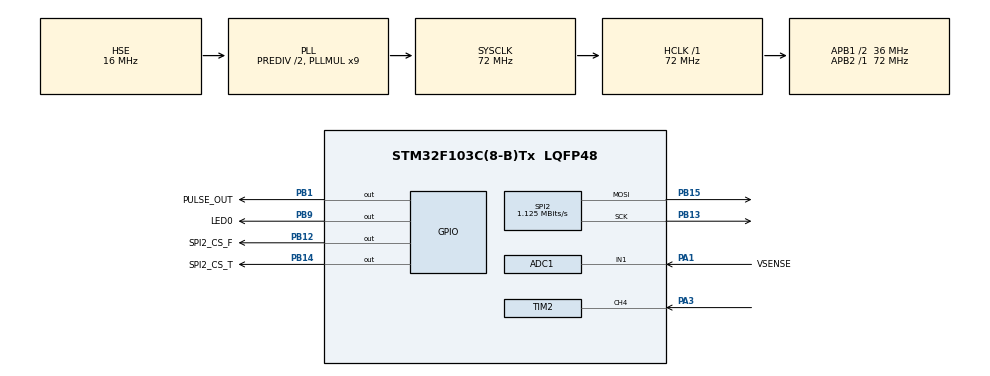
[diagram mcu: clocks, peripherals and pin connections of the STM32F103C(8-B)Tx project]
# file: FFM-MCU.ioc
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ADC1.Channel-0\#ChannelRegularConversion=ADC_CHANNEL_1
ADC1.ContinuousConvMode=ENABLE
ADC1.NbrOfConversionFlag=1
ADC1.Rank-0\#ChannelRegularConversion=1
ADC1.SamplingTime-0\#ChannelRegularConversion=ADC_SAMPLETIME_1CYCLE_5
ADC1.master=1
Mcu.Family=STM32F1
Mcu.Name=STM32F103C(8-B)Tx
Mcu.Package=LQFP48
NVIC.ADC1_2_IRQn=true\:0\:0\:false\:false\:true\:true
NVIC.PriorityGroup=NVIC_PRIORITYGROUP_4
NVIC.TIM2_IRQn=true\:0\:0\:false\:false\:true\:true
NVIC.TIM3_IRQn=true\:0\:0\:false\:false\:true\:true
PA1.GPIO_Label=VSENSE
PA1.Signal=ADCx_IN1
PA13.Mode=Serial_Wire
PA13.Signal=SYS_JTMS-SWDIO
PA14.Mode=Serial_Wire
PA14.Signal=SYS_JTCK-SWCLK
PA3.Signal=S_TIM2_CH4
PB1.GPIO_Label=PULSE_OUT
PB1.GPIO_Speed=GPIO_SPEED_FREQ_HIGH
PB1.Signal=GPIO_Output
PB12.GPIO_Label=SPI2_CS_F
PB12.GPIO_Speed=GPIO_SPEED_FREQ_HIGH
PB12.Signal=GPIO_Output
PB13.Mode=TX_Only_Simplex_Unidirect_Master
PB13.Signal=SPI2_SCK
PB14.GPIO_Label=SPI2_CS_T
PB14.GPIO_Speed=GPIO_SPEED_FREQ_HIGH
PB14.Signal=GPIO_Output
PB15.Mode=TX_Only_Simplex_Unidirect_Master
PB15.Signal=SPI2_MOSI
PB9.GPIO_Label=LED0
PB9.GPIO_Speed=GPIO_SPEED_FREQ_HIGH
PB9.Signal=GPIO_Output
PD0-OSC_IN.Mode=HSE-External-Oscillator
PD0-OSC_IN.Signal=RCC_OSC_IN
PD1-OSC_OUT.Mode=HSE-External-Oscillator
PD1-OSC_OUT.Signal=RCC_OSC_OUT
ProjectManager.HeapSize=0x200
ProjectManager.StackSize=0x400
ProjectManager.TargetToolchain=EWARM
RCC.ADCPresc=RCC_ADCPCLK2_DIV6
RCC.AHBFreq_Value=72000000
RCC.APB1CLKDivider=RCC_HCLK_DIV2
RCC.APB1Freq_Value=36000000
RCC.APB1TimFreq_Value=72000000
RCC.APB2Freq_Value=72000000
RCC.APB2TimFreq_Value=72000000
RCC.HCLKFreq_Value=72000000
RCC.HSEDivPLL=RCC_HSE_PREDIV_DIV2
RCC.HSE_VALUE=16000000
RCC.PLLMUL=RCC_PLL_MUL9
RCC.PLLSourceVirtual=RCC_PLLSOURCE_HSE
RCC.SYSCLKFreq_VALUE=72000000
RCC.SYSCLKSource=RCC_SYSCLKSOURCE_PLLCLK
RCC.USBFreq_Value=72000000
SH.ADCx_IN1.0=ADC1_IN1,IN1
SH.S_TIM2_CH4.0=TIM2_CH4,Input_Capture4_from_TI4
SPI2.BaudRatePrescaler=SPI_BAUDRATEPRESCALER_32
SPI2.CalculateBaudRate=1.125 MBits/s
SPI2.Direction=SPI_DIRECTION_2LINES
SPI2.FirstBit=SPI_FIRSTBIT_LSB
SPI2.Mode=SPI_MODE_MASTER
SPI2.VirtualType=VM_MASTER
TIM2.Channel-Input_Capture4_from_TI4=TIM_CHANNEL_4
TIM2.ClockDivision=TIM_CLOCKDIVISION_DIV4
TIM2.ICPolarity_CH4=TIM_INPUTCHANNELPOLARITY_FALLING
TIM2.Period=65534
TIM2.Prescaler=17
TIM3.ClockDivision=TIM_CLOCKDIVISION_DIV2
TIM3.Period=19
TIM3.Prescaler=17999
VP_TIM2_VS_ClockSourceINT.Mode=Internal
VP_TIM3_VS_ClockSourceINT.Mode=Internal
board=FFM-MCU

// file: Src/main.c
/**
  ******************************************************************************
  * File Name          : main.c
  * Description        : Main program body
  ******************************************************************************
  ** This notice applies to any and all portions of this file
  * that are not between comment pairs USER CODE BEGIN and
  * USER CODE END. Other portions of this file, whether
  * inserted by the user or by software development tools
  * are owned by their respective copyright owners.
  *
  * COPYRIGHT(c) 2017 STMicroelectronics
  *
  * Redistribution and use in source and binary forms, with or without modification,
  * are permitted provided that the following conditions are met:
  *   1. Redistributions of source code must retain the above copyright notice,
  *      this list of conditions and the following disclaimer.
  *   2. Redistributions in binary form must reproduce the above copyright notice,
  *      this list of conditions and the following disclaimer in the documentation
  *      and/or other materials provided with the distribution.
  *   3. Neither the name of STMicroelectronics nor the names of its contributors
  *      may be used to endorse or promote products derived from this software
  *      without specific prior written permission.
  *
  * THIS SOFTWARE IS PROVIDED BY THE COPYRIGHT HOLDERS AND CONTRIBUTORS "AS IS"
  * AND ANY EXPRESS OR IMPLIED WARRANTIES, INCLUDING, BUT NOT LIMITED TO, THE
  * IMPLIED WARRANTIES OF MERCHANTABILITY AND FITNESS FOR A PARTICULAR PURPOSE ARE
  * DISCLAIMED. IN NO EVENT SHALL THE COPYRIGHT HOLDER OR CONTRIBUTORS BE LIABLE
  * FOR ANY DIRECT, INDIRECT, INCIDENTAL, SPECIAL, EXEMPLARY, OR CONSEQUENTIAL
  * DAMAGES (INCLUDING, BUT NOT LIMITED TO, PROCUREMENT OF SUBSTITUTE GOODS OR
  * SERVICES; LOSS OF USE, DATA, OR PROFITS; OR BUSINESS INTERRUPTION) HOWEVER
  * CAUSED AND ON ANY THEORY OF LIABILITY, WHETHER IN CONTRACT, STRICT LIABILITY,
  * OR TORT (INCLUDING NEGLIGENCE OR OTHERWISE) ARISING IN ANY WAY OUT OF THE USE
  * OF THIS SOFTWARE, EVEN IF ADVISED OF THE POSSIBILITY OF SUCH DAMAGE.
  *
  ******************************************************************************
  */
#include "main.h"
#include "stm32f1xx_hal.h"

/* USER CODE BEGIN Includes */

#define LED_LOW           HAL_GPIO_WritePin(GPIOB, GPIO_PIN_9, GPIO_PIN_RESET)
#define LED_HIGH          HAL_GPIO_WritePin(GPIOB, GPIO_PIN_9, GPIO_PIN_SET)
#define CS_T_LOW          HAL_GPIO_WritePin(GPIOB, GPIO_PIN_14, GPIO_PIN_RESET)
#define CS_T_HIGH         HAL_GPIO_WritePin(GPIOB, GPIO_PIN_14, GPIO_PIN_SET)
#define CS_F_LOW          HAL_GPIO_WritePin(GPIOB, GPIO_PIN_12, GPIO_PIN_RESET)
#define CS_F_HIGH         HAL_GPIO_WritePin(GPIOB, GPIO_PIN_12, GPIO_PIN_SET)
#define PULSEOUT_LOW      HAL_GPIO_WritePin(GPIOB, GPIO_PIN_1, GPIO_PIN_RESET)
#define PULSEOUT_HIGH     HAL_GPIO_WritePin(GPIOB, GPIO_PIN_1, GPIO_PIN_SET)

/* USER CODE END Includes */

ADC_HandleTypeDef hadc1;

SPI_HandleTypeDef hspi2;

TIM_HandleTypeDef htim2;
TIM_HandleTypeDef htim3;

/* USER CODE BEGIN PV */
/* Private variables ---------------------------------------------------------*/

uint32_t freq = 0, temp = 0, stepCounter = 0, outState = 0, extiCounter = 0, count = 0, approxCounts = 0;
uint8_t SELED_Out[5] = {0};

const char simbol[] =
{
  0xBE,                                                                         // 0
  0x06,                                                                         // 1
  0xDC,                                                                         // 2
  0xCE,                                                                         // 3
  0x66,                                                                         // 4
  0xEA,                                                                         // 5
  0xFA,                                                                         // 6
  0x86,                                                                         // 7
  0xFE,                                                                         // 8
  0xEE,                                                                         // 9
  0x00,                                                                         // NULL
  0x01                                                                          // Dot
};

const float polinom[] =
{
  52.31562632,                                                                  // Y
  -10.35172256,                                                                 // X1
  1.207717029,                                                                  // X2
  -0.05790674,                                                                  // X3
  0.001131226                                                                   // X4
};

/* USER CODE END PV */

void SystemClock_Config(void);
static void MX_GPIO_Init(void);
static void MX_ADC1_Init(void);
static void MX_SPI2_Init(void);
static void MX_TIM2_Init(void);
static void MX_TIM3_Init(void);

/* USER CODE BEGIN PFP */
/* Private function prototypes -----------------------------------------------*/

/* USER CODE END PFP */

/* USER CODE BEGIN 0 */

void delay(void)                                                                // 75 uS delay
{
  for (int i = 0; i < 750; i++)
    asm("NOP");
}

void STLED_Init(void)
{
  CS_F_LOW;
  CS_T_LOW;
  delay();
  uint8_t initData = 0x0D;
  HAL_SPI_Transmit(&hspi2, &initData, 1, 0x1000);                               // Display ON
  CS_F_HIGH;
  CS_T_HIGH;
  delay();

  CS_F_LOW;
  CS_T_LOW;
  delay();
  initData = 0x10;
  HAL_SPI_Transmit(&hspi2, &initData, 1, 0x1000);                               // Dimming setting
  initData = 0xFC;
  HAL_SPI_Transmit(&hspi2, &initData, 1, 0x1000);                               // 5 digits, MAX brightness
  CS_F_HIGH;
  CS_T_HIGH;
  delay();
}

void number2array (uint32_t inData, uint8_t outData[5])
{
  if (inData < 10)
  {
    outData[0] = simbol[10];
    outData[1] = simbol[10];
    outData[2] = simbol[0] | simbol[11];
    outData[3] = simbol[0];
    outData[4] = simbol[inData];
  }
  else if (inData < 100)
  {
    outData[0] = simbol[10];
    outData[1] = simbol[10];
    outData[2] = simbol[0] | simbol[11];
    outData[3] = simbol[inData / 10];
    outData[4] = simbol[inData % 10];
  }
  else if (inData < 1000)
  {
    outData[0] = simbol[10];
    outData[1] = simbol[10];
    outData[2] = simbol[inData / 100] | simbol[11];
    while (inData >= 100)
      inData -= 100;
    outData[3] = simbol[inData / 10];
    outData[4] = simbol[inData % 10];
  }
  else if (inData < 10000)
  {
    outData[0] = simbol[10];
    outData[1] = simbol[inData / 1000];
    while (inData >= 1000)
      inData -= 1000;
    outData[2] = simbol[inData / 100] | simbol[11];
    while (inData >= 100)
      inData -= 100;
    outData[3] = simbol[inData / 10];
    outData[4] = simbol[inData % 10];
  }
  else
  {
    outData[0] = simbol[inData / 10000];
    while (inData >= 10000)
      inData -= 10000;
    outData[1] = simbol[inData / 1000];
    while (inData >= 1000)
      inData -= 1000;
    outData[2] = simbol[inData / 100] | simbol[11];
    while (inData >= 100)
      inData -= 100;
    outData[3] = simbol[inData / 10];
    outData[4] = simbol[inData % 10];
  }

}

void STLED_SendData(uint32_t tempData, uint32_t freqData)
{
  /*
  Data out:
  **********
  | xxx.x *C  |
  | xxx.x kHz |
  **********
  tempData = temp * 100 [*C];
  freqData = freq * 100 [kHz];
  */

  uint8_t sendData;

  // Temperature Data Output

  CS_T_LOW;

  delay();
  sendData = 0x00;
  HAL_SPI_Transmit(&hspi2, &sendData, 1, 0x1000);                               // Address

  number2array(tempData, SELED_Out);

  HAL_SPI_Transmit(&hspi2, &SELED_Out[0], 1, 0x1000);                             // Dig0
  HAL_SPI_Transmit(&hspi2, &SELED_Out[1], 1, 0x1000);                             // Dig1
  HAL_SPI_Transmit(&hspi2, &SELED_Out[2], 1, 0x1000);                             // Dig2
  HAL_SPI_Transmit(&hspi2, &SELED_Out[3], 1, 0x1000);                             // Dig3
  HAL_SPI_Transmit(&hspi2, &SELED_Out[4], 1, 0x1000);                             // Dig4

  CS_T_HIGH;

  // Frequency Data Output

  CS_F_LOW;

  delay();
  sendData = 0x00;
  HAL_SPI_Transmit(&hspi2, &sendData, 1, 0x1000);                               // Address

  number2array(freqData, SELED_Out);

  HAL_SPI_Transmit(&hspi2, &SELED_Out[0], 1, 0x1000);                             // Dig0
  HAL_SPI_Transmit(&hspi2, &SELED_Out[1], 1, 0x1000);                             // Dig1
  HAL_SPI_Transmit(&hspi2, &SELED_Out[2], 1, 0x1000);                             // Dig2
  HAL_SPI_Transmit(&hspi2, &SELED_Out[3], 1, 0x1000);                             // Dig3
  HAL_SPI_Transmit(&hspi2, &SELED_Out[4], 1, 0x1000);                             // Dig4

  CS_F_HIGH;
}

/*
  // Temperature Data Output
  CS_T_LOW;
  CS_F_LOW;

  delay();
  uint8_t sendData = 0x00;
  HAL_SPI_Transmit(&hspi2, &sendData, 1, 0x1000);                               // Address

  sendData = simbol[1];
  HAL_SPI_Transmit(&hspi2, &sendData, 1, 0x1000);                               // Dig0
  sendData = simbol[4];
  HAL_SPI_Transmit(&hspi2, &sendData, 1, 0x1000);
  sendData = simbol[8];
  HAL_SPI_Transmit(&hspi2, &sendData, 1, 0x1000);
  sendData = simbol[8];
  HAL_SPI_Transmit(&hspi2, &sendData, 1, 0x1000);
  sendData = simbol[9];
  HAL_SPI_Transmit(&hspi2, &sendData, 1, 0x1000);                               // Dig4

  CS_T_HIGH;
  CS_F_HIGH;
*/

/*
uint32_t freq2temp(uint32_t freqData)
{
  uint32_t tempData = 0;

  if (freqData < 1122)
    tempData = (int) freqData * 1.850;          // 20 -
  else if (freqData < 1163)
    tempData = (int) freqData * 1.872;          // 21
  else if (freqData < 1205)
    tempData = (int) freqData * 1.892;          // 22
  else if (freqData < 1246)
    tempData = (int) freqData * 1.909;          // 23
  else if (freqData < 1287)
    tempData = (int) freqData * 1.926;          // 24
  else if (freqData < 1328)
    tempData = (int) freqData * 1.943;          // 25
  else if (freqData < 1369)
    tempData = (int) freqData * 1.958;          // 26
  else if (freqData < 1411)
    tempData = (int) freqData * 1.972;          // 27
  else if (freqData < 1452)
    tempData = (int) freqData * 1.984;          // 28
  else if (freqData < 1493)
    tempData = (int) freqData * 1.997;          // 29
  else if (freqData < 1534)
    tempData = (int) freqData * 2.009;          // 30
  else if (freqData < 1575)
    tempData = (int) freqData * 2.021;          // 31
  else if (freqData < 1617)
    tempData = (int) freqData * 2.032;          // 32
  else if (freqData < 1658)
    tempData = (int) freqData * 2.041;          // 33
  else if (freqData < 1700)
    tempData = (int) freqData * 2.051;          // 34
  else if (freqData < 1740)
    tempData = (int) freqData * 2.059;          // 35
  else if (freqData < 1781)
    tempData = (int) freqData * 2.069;          // 36
  else if (freqData < 1823)
    tempData = (int) freqData * 2.077;          // 37
  else if (freqData < 1864)
    tempData = (int) freqData * 2.084;          // 38
  else if (freqData < 1905)
    tempData = (int) freqData * 2.092;          // 39
  else
    tempData = (int) freqData * 2.100;          // 40 +

  return tempData;
}
*/

uint32_t freq2temp(uint32_t freqData)
{
  uint32_t tempData = 0;
  float tempFloat = 0;
  float freqFloat = freqData;
  freqFloat /= 100;
  tempFloat = polinom[1] * freqFloat + polinom[2] * freqFloat * freqFloat + polinom[3] * freqFloat * freqFloat * freqFloat + polinom[4] * freqFloat * freqFloat * freqFloat * freqFloat + polinom[0];
  tempFloat *= 100;
  tempData = (int) tempFloat;
  return tempData;
}

/* USER CODE END 0 */

int main(void)
{

  /* MCU Configuration----------------------------------------------------------*/

  /* Reset of all peripherals, Initializes the Flash interface and the Systick. */
  HAL_Init();

  /* Configure the system clock */
  SystemClock_Config();

  /* Initialize all configured peripherals */
  MX_GPIO_Init();
  MX_ADC1_Init();
  MX_SPI2_Init();
  MX_TIM2_Init();
  MX_TIM3_Init();

  /* USER CODE BEGIN 2 */

  LED_HIGH;
  STLED_Init();
  HAL_Delay(50);
//  PULSEOUT_HIGH;

  STLED_SendData(0,0);

  HAL_TIM_Base_Start(&htim2);
  HAL_TIM_IC_Start_IT(&htim2, TIM_CHANNEL_4);
  HAL_TIM_Base_Start_IT(&htim3);

  /* USER CODE END 2 */

  /* Infinite loop */
  while (1)
  {

  }

}

/** System Clock Configuration
*/
void SystemClock_Config(void)
{

  RCC_OscInitTypeDef RCC_OscInitStruct;
  RCC_ClkInitTypeDef RCC_ClkInitStruct;
  RCC_PeriphCLKInitTypeDef PeriphClkInit;

    /**Initializes the CPU, AHB and APB busses clocks
    */
  RCC_OscInitStruct.OscillatorType = RCC_OSCILLATORTYPE_HSE;
  RCC_OscInitStruct.HSEState = RCC_HSE_ON;
  RCC_OscInitStruct.HSEPredivValue = RCC_HSE_PREDIV_DIV2;
  RCC_OscInitStruct.HSIState = RCC_HSI_ON;
  RCC_OscInitStruct.PLL.PLLState = RCC_PLL_ON;
  RCC_OscInitStruct.PLL.PLLSource = RCC_PLLSOURCE_HSE;
  RCC_OscInitStruct.PLL.PLLMUL = RCC_PLL_MUL9;
  if (HAL_RCC_OscConfig(&RCC_OscInitStruct) != HAL_OK)
  {
    _Error_Handler(__FILE__, __LINE__);
  }

    /**Initializes the CPU, AHB and APB busses clocks
    */
  RCC_ClkInitStruct.ClockType = RCC_CLOCKTYPE_HCLK|RCC_CLOCKTYPE_SYSCLK
                              |RCC_CLOCKTYPE_PCLK1|RCC_CLOCKTYPE_PCLK2;
  RCC_ClkInitStruct.SYSCLKSource = RCC_SYSCLKSOURCE_PLLCLK;
  RCC_ClkInitStruct.AHBCLKDivider = RCC_SYSCLK_DIV1;
  RCC_ClkInitStruct.APB1CLKDivider = RCC_HCLK_DIV2;
  RCC_ClkInitStruct.APB2CLKDivider = RCC_HCLK_DIV1;

  if (HAL_RCC_ClockConfig(&RCC_ClkInitStruct, FLASH_LATENCY_2) != HAL_OK)
  {
    _Error_Handler(__FILE__, __LINE__);
  }

  PeriphClkInit.PeriphClockSelection = RCC_PERIPHCLK_ADC;
  PeriphClkInit.AdcClockSelection = RCC_ADCPCLK2_DIV6;
  if (HAL_RCCEx_PeriphCLKConfig(&PeriphClkInit) != HAL_OK)
  {
    _Error_Handler(__FILE__, __LINE__);
  }

    /**Configure the Systick interrupt time
    */
  HAL_SYSTICK_Config(HAL_RCC_GetHCLKFreq()/1000);

    /**Configure the Systick
    */
  HAL_SYSTICK_CLKSourceConfig(SYSTICK_CLKSOURCE_HCLK);

  /* SysTick_IRQn interrupt configuration */
  HAL_NVIC_SetPriority(SysTick_IRQn, 0, 0);
}

/* ADC1 init function */
static void MX_ADC1_Init(void)
{

  ADC_ChannelConfTypeDef sConfig;

    /**Common config
    */
  hadc1.Instance = ADC1;
  hadc1.Init.ScanConvMode = ADC_SCAN_DISABLE;
  hadc1.Init.ContinuousConvMode = ENABLE;
  hadc1.Init.DiscontinuousConvMode = DISABLE;
  hadc1.Init.ExternalTrigConv = ADC_SOFTWARE_START;
  hadc1.Init.DataAlign = ADC_DATAALIGN_RIGHT;
  hadc1.Init.NbrOfConversion = 1;
  if (HAL_ADC_Init(&hadc1) != HAL_OK)
  {
    _Error_Handler(__FILE__, __LINE__);
  }

    /**Configure Regular Channel
    */
  sConfig.Channel = ADC_CHANNEL_1;
  sConfig.Rank = 1;
  sConfig.SamplingTime = ADC_SAMPLETIME_1CYCLE_5;
  if (HAL_ADC_ConfigChannel(&hadc1, &sConfig) != HAL_OK)
  {
    _Error_Handler(__FILE__, __LINE__);
  }

}

/* SPI2 init function */
static void MX_SPI2_Init(void)
{

  /* SPI2 parameter configuration*/
  hspi2.Instance = SPI2;
  hspi2.Init.Mode = SPI_MODE_MASTER;
  hspi2.Init.Direction = SPI_DIRECTION_2LINES;
  hspi2.Init.DataSize = SPI_DATASIZE_8BIT;
  hspi2.Init.CLKPolarity = SPI_POLARITY_LOW;
  hspi2.Init.CLKPhase = SPI_PHASE_1EDGE;
  hspi2.Init.NSS = SPI_NSS_SOFT;
  hspi2.Init.BaudRatePrescaler = SPI_BAUDRATEPRESCALER_32;
  hspi2.Init.FirstBit = SPI_FIRSTBIT_LSB;
  hspi2.Init.TIMode = SPI_TIMODE_DISABLE;
  hspi2.Init.CRCCalculation = SPI_CRCCALCULATION_DISABLE;
  hspi2.Init.CRCPolynomial = 10;
  if (HAL_SPI_Init(&hspi2) != HAL_OK)
  {
    _Error_Handler(__FILE__, __LINE__);
  }

}

/* TIM2 init function */
static void MX_TIM2_Init(void)
{

  TIM_ClockConfigTypeDef sClockSourceConfig;
  TIM_MasterConfigTypeDef sMasterConfig;
  TIM_IC_InitTypeDef sConfigIC;

  htim2.Instance = TIM2;
  htim2.Init.Prescaler = 1;
  htim2.Init.CounterMode = TIM_COUNTERMODE_UP;
  htim2.Init.Period = 65534;
  htim2.Init.ClockDivision = TIM_CLOCKDIVISION_DIV1;
  htim2.Init.AutoReloadPreload = TIM_AUTORELOAD_PRELOAD_DISABLE;
  if (HAL_TIM_Base_Init(&htim2) != HAL_OK)
  {
    _Error_Handler(__FILE__, __LINE__);
  }

  sClockSourceConfig.ClockSource = TIM_CLOCKSOURCE_INTERNAL;
  if (HAL_TIM_ConfigClockSource(&htim2, &sClockSourceConfig) != HAL_OK)
  {
    _Error_Handler(__FILE__, __LINE__);
  }

  if (HAL_TIM_IC_Init(&htim2) != HAL_OK)
  {
    _Error_Handler(__FILE__, __LINE__);
  }

  sMasterConfig.MasterOutputTrigger = TIM_TRGO_RESET;
  sMasterConfig.MasterSlaveMode = TIM_MASTERSLAVEMODE_DISABLE;
  if (HAL_TIMEx_MasterConfigSynchronization(&htim2, &sMasterConfig) != HAL_OK)
  {
    _Error_Handler(__FILE__, __LINE__);
  }

  sConfigIC.ICPolarity = TIM_INPUTCHANNELPOLARITY_FALLING;
  sConfigIC.ICSelection = TIM_ICSELECTION_DIRECTTI;
  sConfigIC.ICPrescaler = TIM_ICPSC_DIV1;
  sConfigIC.ICFilter = 0;
  if (HAL_TIM_IC_ConfigChannel(&htim2, &sConfigIC, TIM_CHANNEL_4) != HAL_OK)
  {
    _Error_Handler(__FILE__, __LINE__);
  }

}

/* TIM3 init function */
static void MX_TIM3_Init(void)
{

  TIM_ClockConfigTypeDef sClockSourceConfig;
  TIM_MasterConfigTypeDef sMasterConfig;

  htim3.Instance = TIM3;
  htim3.Init.Prescaler = 17999;
  htim3.Init.CounterMode = TIM_COUNTERMODE_UP;
  htim3.Init.Period = 19;
  htim3.Init.ClockDivision = TIM_CLOCKDIVISION_DIV2;
  htim3.Init.AutoReloadPreload = TIM_AUTORELOAD_PRELOAD_DISABLE;
  if (HAL_TIM_Base_Init(&htim3) != HAL_OK)
  {
    _Error_Handler(__FILE__, __LINE__);
  }

  sClockSourceConfig.ClockSource = TIM_CLOCKSOURCE_INTERNAL;
  if (HAL_TIM_ConfigClockSource(&htim3, &sClockSourceConfig) != HAL_OK)
  {
    _Error_Handler(__FILE__, __LINE__);
  }

  sMasterConfig.MasterOutputTrigger = TIM_TRGO_RESET;
  sMasterConfig.MasterSlaveMode = TIM_MASTERSLAVEMODE_DISABLE;
  if (HAL_TIMEx_MasterConfigSynchronization(&htim3, &sMasterConfig) != HAL_OK)
  {
    _Error_Handler(__FILE__, __LINE__);
  }

}

/** Configure pins as
        * Analog
        * Input
        * Output
        * EVENT_OUT
        * EXTI
*/
static void MX_GPIO_Init(void)
{

  GPIO_InitTypeDef GPIO_InitStruct;

  /* GPIO Ports Clock Enable */
  __HAL_RCC_GPIOD_CLK_ENABLE();
  __HAL_RCC_GPIOA_CLK_ENABLE();
  __HAL_RCC_GPIOB_CLK_ENABLE();

  /*Configure GPIO pin Output Level */
  HAL_GPIO_WritePin(GPIOB, PULSE_OUT_Pin|SPI2_CS_F_Pin|SPI2_CS_T_Pin|LED0_Pin, GPIO_PIN_RESET);

  /*Configure GPIO pins : PULSE_OUT_Pin SPI2_CS_F_Pin SPI2_CS_T_Pin LED0_Pin */
  GPIO_InitStruct.Pin = PULSE_OUT_Pin|SPI2_CS_F_Pin|SPI2_CS_T_Pin|LED0_Pin;
  GPIO_InitStruct.Mode = GPIO_MODE_OUTPUT_PP;
  GPIO_InitStruct.Speed = GPIO_SPEED_FREQ_HIGH;
  HAL_GPIO_Init(GPIOB, &GPIO_InitStruct);

}

void _Error_Handler(char * file, int line)
{
  while(1)
  {
  }
}

/************************ (C) COPYRIGHT STMicroelectronics *****END OF FILE****/
